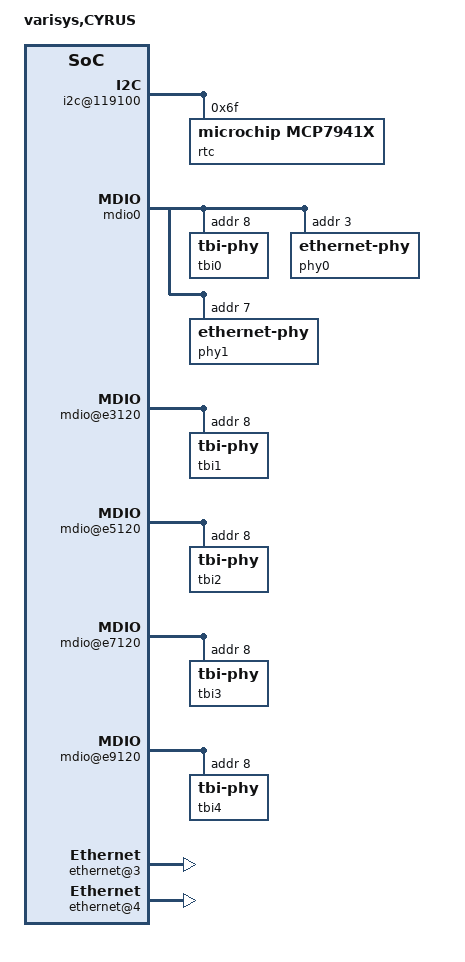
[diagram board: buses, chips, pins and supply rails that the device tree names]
/*
 * Cyrus 5020 Device Tree Source, based on p5020ds.dts
 *
 * Copyright 2015 Andy Fleming
 *
 * p5020ds.dts copyright:
 * Copyright 2010 - 2014 Freescale Semiconductor Inc.
 *
 * This program is free software; you can redistribute  it and/or modify it
 * under  the terms of  the GNU General  Public License as published by the
 * Free Software Foundation;  either version 2 of the  License, or (at your
 * option) any later version.
 */

/include/ "p5020si-pre.dtsi"

/ {
	model = "varisys,CYRUS";
	compatible = "varisys,CYRUS";
	#address-cells = <2>;
	#size-cells = <2>;
	interrupt-parent = <&mpic>;

	aliases {
		ethernet0 = &enet3;
		ethernet1 = &enet4;
	};

	memory {
		device_type = "memory";
	};

	reserved-memory {
		#address-cells = <2>;
		#size-cells = <2>;
		ranges;

		bman_fbpr: bman-fbpr {
			size = <0 0x1000000>;
			alignment = <0 0x1000000>;
		};
		qman_fqd: qman-fqd {
			size = <0 0x400000>;
			alignment = <0 0x400000>;
		};
		qman_pfdr: qman-pfdr {
			size = <0 0x2000000>;
			alignment = <0 0x2000000>;
		};
	};

	dcsr: dcsr@f00000000 {
		ranges = <0x00000000 0xf 0x00000000 0x01008000>;
	};

	bportals: bman-portals@ff4000000 {
		ranges = <0x0 0xf 0xf4000000 0x200000>;
	};

	qportals: qman-portals@ff4200000 {
		ranges = <0x0 0xf 0xf4200000 0x200000>;
	};

	soc: soc@ffe000000 {
		ranges = <0x00000000 0xf 0xfe000000 0x1000000>;
		reg = <0xf 0xfe000000 0 0x00001000>;
		spi@110000 {
		};

		i2c@118100 {
		};

		i2c@119100 {
			rtc@6f {
				compatible = "microchip,mcp7941x";
				reg = <0x6f>;
			};
		};

		fman0: fman@400000 {
			enet0: ethernet@e0000 {
				tbi-handle = <&tbi0>;
				status = "disabled";
			};

			mdio0: mdio@e1120 {
				tbi0: tbi-phy@8 {
					reg = <0x8>;
					device_type = "tbi-phy";
				};

				
				/* IRQ3 Active Low */
				phy0: ethernet-phy@3 {
					interrupts = <3 1 0 0>;
					reg = <0x3>;

					txen-skew-ps = <840>;
					rxdv-skew-ps = <840>;
					txc-skew-ps = <960>;
					rxc-skew-ps = <960>;
					rxd0-skew-ps = <0>;
					rxd1-skew-ps = <0>;
					rxd2-skew-ps = <0>;
					rxd3-skew-ps = <0>;
					txd0-skew-ps = <840>;
					txd1-skew-ps = <840>;
					txd2-skew-ps = <840>;
					txd3-skew-ps = <840>;
				};

				/* IRQ1 Active Low */
				phy1: ethernet-phy@7 {
					interrupts = <1 1 0 0>;
					reg = <0x7>;

					txen-skew-ps = <840>;
					rxdv-skew-ps = <840>;
					txc-skew-ps = <960>;
					rxc-skew-ps = <960>;
					rxd0-skew-ps = <0>;
					rxd1-skew-ps = <0>;
					rxd2-skew-ps = <0>;
					rxd3-skew-ps = <0>;
					txd0-skew-ps = <840>;
					txd1-skew-ps = <840>;
					txd2-skew-ps = <840>;
					txd3-skew-ps = <840>;
				};
			};

			enet1: ethernet@e2000 {
				tbi-handle = <&tbi1>;
				status = "disabled";
			};

			mdio@e3120 {
				tbi1: tbi-phy@8 {
					reg = <8>;
					device_type = "tbi-phy";
				};
			};

			enet2: ethernet@e4000 {
				tbi-handle = <&tbi2>;
				status = "disabled";
			};

			mdio@e5120 {
				tbi2: tbi-phy@8 {
					reg = <8>;
					device_type = "tbi-phy";
				};
			};

			enet3: ethernet@e6000 {
				tbi-handle = <&tbi3>;
				phy-handle = <&phy0>;
				phy-connection-type = "rgmii";
			};

			mdio@e7120 {
				#address-cells = <1>;
				#size-cells = <0>;
				compatible = "fsl,fman-tbi";
				reg = <0xe7120 0xee0>;
				interrupts = <100 1 0 0>;

				tbi3: tbi-phy@8 {
					reg = <8>;
					device_type = "tbi-phy";
				};
			};

			enet4: ethernet@e8000 {
				tbi-handle = <&tbi4>;
				phy-handle = <&phy1>;
				phy-connection-type = "rgmii";
			};

			mdio@e9120 {
				tbi4: tbi-phy@8 {
					reg = <8>;
					device_type = "tbi-phy";
				};
			};

			enet5: ethernet@f0000 {
				phy-connection-type = "xgmii";
				status = "disabled";
			};

		};
	};

	rio: rapidio@ffe0c0000 {
		reg = <0xf 0xfe0c0000 0 0x11000>;

		port1 {
			ranges = <0 0 0xc 0x20000000 0 0x10000000>;
		};
		port2 {
			ranges = <0 0 0xc 0x30000000 0 0x10000000>;
		};
	};

	lbc: localbus@ffe124000 {
		reg = <0xf 0xfe124000 0 0x1000>;
		ranges = <0 0 0xf 0xe8000000 0x08000000
			  2 0 0xf 0xffa00000 0x00040000
			  3 0 0xf 0xffdf0000 0x00008000>;
	};

	pci0: pcie@ffe200000 {
		reg = <0xf 0xfe200000 0 0x1000>;
		ranges = <0x02000000 0 0xe0000000 0xc 0x00000000 0x0 0x20000000
			  0x01000000 0 0x00000000 0xf 0xf8000000 0x0 0x00010000>;
		pcie@0 {
			ranges = <0x02000000 0 0xe0000000
				  0x02000000 0 0xe0000000
				  0 0x20000000

				  0x01000000 0 0x00000000
				  0x01000000 0 0x00000000
				  0 0x00010000>;
		};
	};

	pci1: pcie@ffe201000 {
		reg = <0xf 0xfe201000 0 0x1000>;
		ranges = <0x02000000 0x0 0xe0000000 0xc 0x20000000 0x0 0x20000000
			  0x01000000 0x0 0x00000000 0xf 0xf8010000 0x0 0x00010000>;
		pcie@0 {
			ranges = <0x02000000 0 0xe0000000
				  0x02000000 0 0xe0000000
				  0 0x20000000

				  0x01000000 0 0x00000000
				  0x01000000 0 0x00000000
				  0 0x00010000>;
		};
	};

	pci2: pcie@ffe202000 {
		reg = <0xf 0xfe202000 0 0x1000>;
		ranges = <0x02000000 0 0xe0000000 0xc 0x40000000 0 0x20000000
			  0x01000000 0 0x00000000 0xf 0xf8020000 0 0x00010000>;
		pcie@0 {
			ranges = <0x02000000 0 0xe0000000
				  0x02000000 0 0xe0000000
				  0 0x20000000

				  0x01000000 0 0x00000000
				  0x01000000 0 0x00000000
				  0 0x00010000>;
		};
	};

	pci3: pcie@ffe203000 {
		reg = <0xf 0xfe203000 0 0x1000>;
		ranges = <0x02000000 0 0xe0000000 0xc 0x60000000 0 0x20000000
			  0x01000000 0 0x00000000 0xf 0xf8030000 0 0x00010000>;
		pcie@0 {
			ranges = <0x02000000 0 0xe0000000
				  0x02000000 0 0xe0000000
				  0 0x20000000

				  0x01000000 0 0x00000000
				  0x01000000 0 0x00000000
				  0 0x00010000>;
		};
	};
	fsl,dpaa {
		compatible = "fsl,p5020-dpaa", "fsl,dpaa";

		ethernet@3 {
			compatible = "fsl,p5020-dpa-ethernet", "fsl,dpa-ethernet";
			fsl,fman-mac = <&enet3>;
		};
		ethernet@4 {
			compatible = "fsl,p5020-dpa-ethernet", "fsl,dpa-ethernet";
			fsl,fman-mac = <&enet4>;
		};
	};

};

/include/ "p5020si-post.dtsi"
/include/ "qoriq-dpaa-res1.dtsi"
